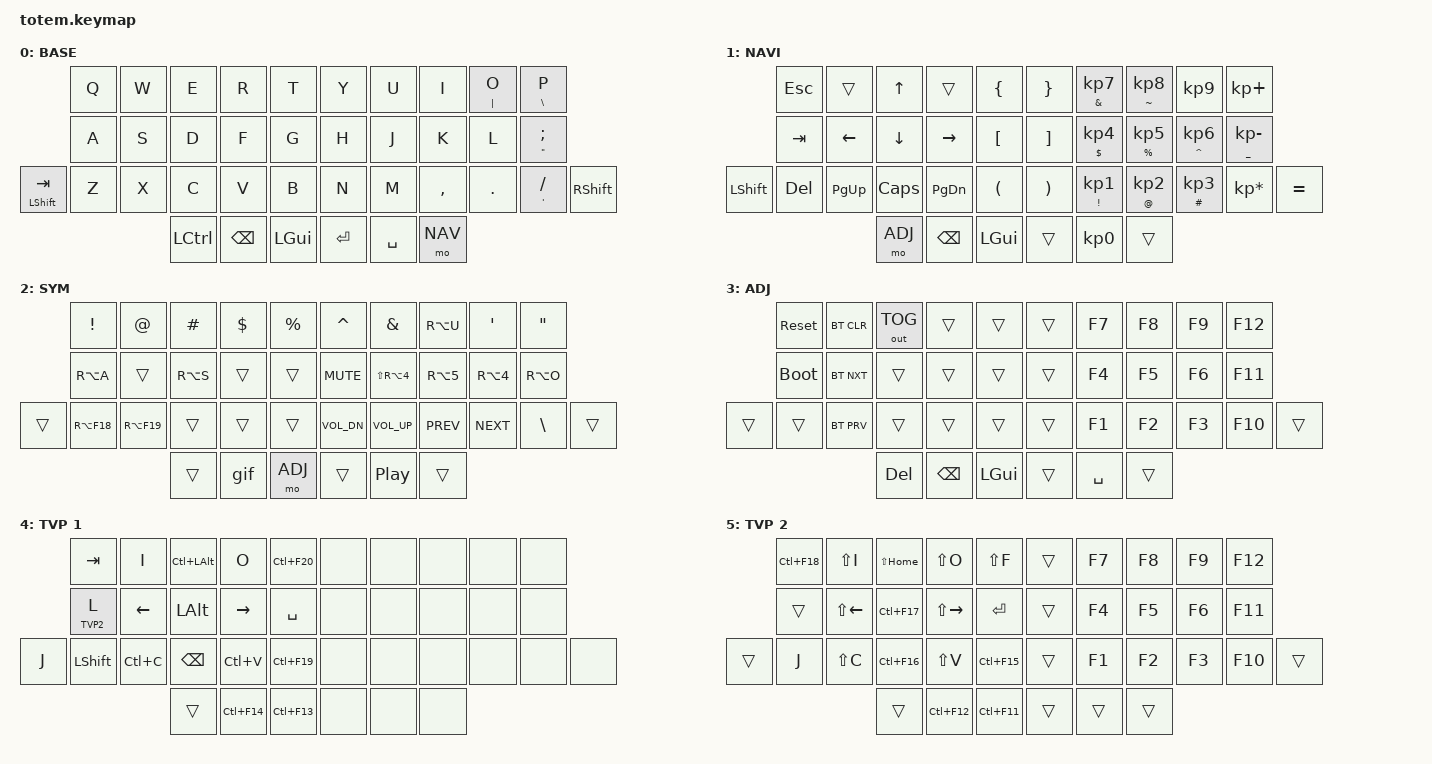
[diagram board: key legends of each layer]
//
//                                                        ▀▀▀▀▀     ▀▀▀▀▀          ▀▀█▀▀
//                                                        ▄▀▀▀▄  ▄  ▄▀▀▀▄  ▄  ▄▀▀▀▄  █  ▄▀▀▀▄
//                                                        █   █  █  █   █  █  █   █  █  █   █
//                                                         ▀▀▀   █   ▀▀▀   █   ▀▀▀   ▀   ▀▀▀
//                                                               █      ▄▄▄█▄▄▄    █   █  
//                                                               ▀      █  █  █     █▄█
//                                                             ▀▀▀▀▀    █  █  █      ▀
//                                                                      ▀  ▀  ▀
//
// ▄▄▄▄▄▄▄▄▄▄▄▄▄▄▄▄▄▄▄▄▄▄▄▄▄▄▄▄▄▄▄▄▄▄▄▄▄▄▄▄▄▄▄▄▄▄▄▄▄▄▄▄▄▄▄▄▄▄▄▄▄▄▄▄▄▄▄▄▄▄▄▄▄▄▄▄▄▄▄▄▄▄▄▄▄▄▄▄▄▄▄▄▄▄▄▄▄▄▄▄▄▄▄▄▄▄▄▄▄▄▄▄▄▄▄▄▄▄▄▄▄▄▄▄▄▄▄▄▄▄▄▄▄▄▄▄▄▄▄▄▄▄▄▄▄▄▄▄▄
       

#include <behaviors.dtsi>
#include <dt-bindings/zmk/keys.h>
#include <dt-bindings/zmk/bt.h>
#include <dt-bindings/zmk/outputs.h>

#define BASE 0
#define NAV  1
#define SYM  2
#define ADJ  3
#define TVP1 4
#define TVP2 5

&mt {
  quick-tap-ms = <100>;
  global-quick-tap;
  flavor = "tap-preferred";
  tapping-term-ms = <170>;
};

/ {
     combos {
            compatible = "zmk,combos";
            combo_esc {
                timeout-ms = <50>;
                key-positions = <0 1>;
                bindings = <&kp ESC>;
            };
            combo_tvp {
                timeout-ms = <100>;
                key-positions = <11 12 13>;
                bindings = <&tog TVP1>;
            };
    };

    macros {
        gif: gif {
            label = "giphy";
            compatible = "zmk,behavior-macro";
            #binding-cells = <0>;
            bindings
                = <&macro_press &kp LSHFT>
                , <&macro_tap &kp N2>
                , <&macro_release &kp LSHFT>
                , <&macro_tap &kp G &kp I &kp F>
                ;
        };
    };

        keymap {
                compatible = "zmk,keymap";
// ▄▄▄▄▄▄▄▄▄▄▄▄▄▄▄▄▄▄▄▄▄▄▄▄▄▄▄▄▄▄▄▄▄▄▄▄▄▄▄▄▄▄▄▄▄▄▄▄▄▄▄▄▄▄▄▄▄▄▄▄▄▄▄▄▄▄▄▄▄▄▄▄▄▄▄▄▄▄▄▄▄▄▄▄▄▄▄▄▄▄▄▄▄▄▄▄▄▄▄▄▄▄▄▄▄▄▄▄▄▄▄▄▄▄▄▄▄▄▄▄▄▄▄▄▄▄▄▄▄▄▄▄▄▄▄▄▄▄▄▄▄▄▄▄▄▄▄▄▄

                base_layer {
// ┏━━━━━━━━━━━━━━━━━━━━━━━━━━━━━━━━━━━━━━━┓
label= "BASE"                              ;
// ┗━━━━━━━━━━━━━━━━━━━━━━━━━━━━━━━━━━━━━━━┛
//             ┏━━━━━━━━━━━┳━━━━━━━━━━━┳━━━━━━━━━━━┳━━━━━━━━━━━┳━━━━━━━━━━━┓   ┏━━━━━━━━━━━┳━━━━━━━━━━━┳━━━━━━━━━━━┳━━━━━━━━━━━┳━━━━━━━━━━━┓
//             ┃     Q     ┃     W     ┃     E     ┃     R     ┃     T     ┃   ┃     Y     ┃     U     ┃     I     ┃   O / |   ┃   P / \   ┃
//             ┣━━━━━━━━━━━╋━━━━━━━━━━━╋━━━━━━━━━━━╋━━━━━━━━━━━╋━━━━━━━━━━━┫   ┣━━━━━━━━━━━╋━━━━━━━━━━━╋━━━━━━━━━━━╋━━━━━━━━━━━╋━━━━━━━━━━━┫
//             ┃     A     ┃     S     ┃     D     ┃     F     ┃     G     ┃   ┃     H     ┃     J     ┃     K     ┃     L     ┃   ; / "   ┃
// ┏━━━━━━━━━━━╋━━━━━━━━━━━╋━━━━━━━━━━━╋━━━━━━━━━━━╋━━━━━━━━━━━╋━━━━━━━━━━━┫   ┣━━━━━━━━━━━╋━━━━━━━━━━━╋━━━━━━━━━━━╋━━━━━━━━━━━╋━━━━━━━━━━━╋━━━━━━━━━━━┓
// ┃ TAB/SHIFT ┃     Z     ┃     X     ┃     C     ┃     V     ┃     B     ┃   ┃     N     ┃     M     ┃     ,     ┃     .     ┃   / / '   ┃   SHIFT   ┃
// ┗━━━━━━━━━━━┻━━━━━━━━━━━┻━━━━━━━━━━━╋━━━━━━━━━━━╋━━━━━━━━━━━╋━━━━━━━━━━━┫   ┣━━━━━━━━━━━╋━━━━━━━━━━━╋━━━━━━━━━━━╋━━━━━━━━━━━┻━━━━━━━━━━━┻━━━━━━━━━━━┛
//                                     ┃   CTRL    ┃   BSPC    ┃    CMD    ┃   ┃   ENTER   ┃    SPC    ┃   NAVI    ┃
//                                     ┗━━━━━━━━━━━┻━━━━━━━━━━━┻━━━━━━━━━━━┛   ┗━━━━━━━━━━━┻━━━━━━━━━━━┻━━━━━━━━━━━┛
 bindings = <
// ╷           ╷           ╷           ╷           ╷           ╷           ╷   ╷           ╷           ╷           ╷           ╷           ╷           ╷

                &kp Q       &kp W       &kp E       &kp R       &kp T           &kp Y       &kp U       &kp I       &mt PIPE O  &mt BSLH P
                &kp A       &kp S       &kp D       &kp F       &kp G           &kp H       &kp J       &kp K       &kp L       &mt DQT SEMI
    &mt LSHFT TAB &kp Z     &kp X       &kp C       &kp V       &kp B           &kp N       &kp M       &kp COMMA   &kp DOT     &mt SQT FSLH &kp RSHFT
                                        &kp LCTRL   &kp BSPC    &kp LGUI        &kp RET     &kp SPACE   &mo NAV
                        >;
                };

// ▄▄▄▄▄▄▄▄▄▄▄▄▄▄▄▄▄▄▄▄▄▄▄▄▄▄▄▄▄▄▄▄▄▄▄▄▄▄▄▄▄▄▄▄▄▄▄▄▄▄▄▄▄▄▄▄▄▄▄▄▄▄▄▄▄▄▄▄▄▄▄▄▄▄▄▄▄▄▄▄▄▄▄▄▄▄▄▄▄▄▄▄▄▄▄▄▄▄▄▄▄▄▄▄▄▄▄▄▄▄▄▄▄▄▄▄▄▄▄▄▄▄▄▄▄▄▄▄▄▄▄▄▄▄▄▄▄▄▄▄▄▄▄▄▄▄▄▄▄


                nav_layer {
// ┏━━━━━━━━━━━━━━━━━━━━━━━━━━━━━━━━━━━━━━━┓
label= "NAVI"                              ;
// ┗━━━━━━━━━━━━━━━━━━━━━━━━━━━━━━━━━━━━━━━┛
//             ┏━━━━━━━━━━━┳━━━━━━━━━━━┳━━━━━━━━━━━┳━━━━━━━━━━━┳━━━━━━━━━━━┓   ┏━━━━━━━━━━━┳━━━━━━━━━━━┳━━━━━━━━━━━┳━━━━━━━━━━━┳━━━━━━━━━━━┓
//             ┃    ESC    ┃           ┃     UP    ┃           ┃     {     ┃   ┃     }     ┃   7 / &   ┃   8 / ~   ┃     9     ┃     +     ┃
//             ┣━━━━━━━━━━━╋━━━━━━━━━━━╋━━━━━━━━━━━╋━━━━━━━━━━━╋━━━━━━━━━━━┫   ┣━━━━━━━━━━━╋━━━━━━━━━━━╋━━━━━━━━━━━╋━━━━━━━━━━━╋━━━━━━━━━━━┫
//             ┃    TAB    ┃   LEFT    ┃    DOWN   ┃   RIGHT   ┃     [     ┃   ┃     ]     ┃   4 / $   ┃   5 / %   ┃   6 / ^   ┃   - / _   ┃
// ┏━━━━━━━━━━━╋━━━━━━━━━━━╋━━━━━━━━━━━╋━━━━━━━━━━━╋━━━━━━━━━━━╋━━━━━━━━━━━┫   ┣━━━━━━━━━━━╋━━━━━━━━━━━╋━━━━━━━━━━━╋━━━━━━━━━━━╋━━━━━━━━━━━╋━━━━━━━━━━━┓
// ┃   SHIFT   ┃    DEL    ┃   PG UP   ┃  C LOCK   ┃  PG DOWN  ┃     (     ┃   ┃     )     ┃   1 / !   ┃   2 / @   ┃   3 / #   ┃     *     ┃     =     ┃
// ┗━━━━━━━━━━━┻━━━━━━━━━━━┻━━━━━━━━━━━╋━━━━━━━━━━━╋━━━━━━━━━━━╋━━━━━━━━━━━┫   ┣━━━━━━━━━━━╋━━━━━━━━━━━╋━━━━━━━━━━━╋━━━━━━━━━━━┻━━━━━━━━━━━┻━━━━━━━━━━━┛
//                                     ┃    ADJ    ┃   BSPC    ┃    CMD    ┃   ┃           ┃     0     ┃           ┃
//                                     ┗━━━━━━━━━━━┻━━━━━━━━━━━┻━━━━━━━━━━━┛   ┗━━━━━━━━━━━┻━━━━━━━━━━━┻━━━━━━━━━━━┛
 bindings = <
// ╷           ╷           ╷           ╷           ╷           ╷           ╷   ╷           ╷           ╷           ╷           ╷           ╷           ╷

                &kp ESC     &trans      &kp UP      &trans      &kp LBRC        &kp RBRC    &mt AMPS KP_N7 &mt TILDE KP_N8 &kp KP_N9 &kp KP_PLUS
                &kp TAB     &kp LEFT    &kp DOWN    &kp RIGHT   &kp LBKT        &kp RBKT    &mt DLLR KP_N4 &mt PRCNT KP_N5 &mt CARET KP_N6 &mt UNDER KP_MINUS
    &kp LSHFT   &kp DEL     &kp PG_UP   &kp CAPS    &kp PG_DN   &kp LPAR        &kp RPAR    &mt EXCL KP_N1 &mt AT KP_N2 &mt HASH KP_N3 &kp KP_MULTIPLY &kp EQUAL
                                        &mo ADJ     &kp BSPC    &kp LGUI        &trans      &kp KP_N0   &trans
                        >;
                };

// ▄▄▄▄▄▄▄▄▄▄▄▄▄▄▄▄▄▄▄▄▄▄▄▄▄▄▄▄▄▄▄▄▄▄▄▄▄▄▄▄▄▄▄▄▄▄▄▄▄▄▄▄▄▄▄▄▄▄▄▄▄▄▄▄▄▄▄▄▄▄▄▄▄▄▄▄▄▄▄▄▄▄▄▄▄▄▄▄▄▄▄▄▄▄▄▄▄▄▄▄▄▄▄▄▄▄▄▄▄▄▄▄▄▄▄▄▄▄▄▄▄▄▄▄▄▄▄▄▄▄▄▄▄▄▄▄▄▄▄▄▄▄▄▄▄▄▄▄▄


                sim_layer {
// ┏━━━━━━━━━━━━━━━━━━━━━━━━━━━━━━━━━━━━━━━┓
label= "SYM"                               ;
// ┗━━━━━━━━━━━━━━━━━━━━━━━━━━━━━━━━━━━━━━━┛
//             ┏━━━━━━━━━━━┳━━━━━━━━━━━┳━━━━━━━━━━━┳━━━━━━━━━━━┳━━━━━━━━━━━┓   ┏━━━━━━━━━━━┳━━━━━━━━━━━┳━━━━━━━━━━━┳━━━━━━━━━━━┳━━━━━━━━━━━┓
//             ┃     !     ┃     @     ┃     #     ┃     $     ┃     %     ┃   ┃     ˆ     ┃     &     ┃     Ü     ┃     '     ┃     "     ┃
//             ┣━━━━━━━━━━━╋━━━━━━━━━━━╋━━━━━━━━━━━╋━━━━━━━━━━━╋━━━━━━━━━━━┫   ┣━━━━━━━━━━━╋━━━━━━━━━━━╋━━━━━━━━━━━╋━━━━━━━━━━━╋━━━━━━━━━━━┫
//             ┃     Ä     ┃           ┃    SZ     ┃           ┃           ┃   ┃   MUTE    ┃   YEN     ┃   EURO    ┃  POUND    ┃     Ö     ┃
// ┏━━━━━━━━━━━╋━━━━━━━━━━━╋━━━━━━━━━━━╋━━━━━━━━━━━╋━━━━━━━━━━━╋━━━━━━━━━━━┫   ┣━━━━━━━━━━━╋━━━━━━━━━━━╋━━━━━━━━━━━╋━━━━━━━━━━━╋━━━━━━━━━━━╋━━━━━━━━━━━┓
// ┃           ┃  EMAIL1   ┃  EMAIL2   ┃           ┃           ┃           ┃   ┃   VOL-    ┃   VOL+    ┃   LAST    ┃   NEXT    ┃     \     ┃           ┃
// ┗━━━━━━━━━━━┻━━━━━━━━━━━┻━━━━━━━━━━━╋━━━━━━━━━━━╋━━━━━━━━━━━╋━━━━━━━━━━━┫   ┣━━━━━━━━━━━╋━━━━━━━━━━━╋━━━━━━━━━━━╋━━━━━━━━━━━┻━━━━━━━━━━━┻━━━━━━━━━━━┛
//                                     ┃           ┃    GIF    ┃    ADJ    ┃   ┃           ┃           ┃           ┃
//                                     ┗━━━━━━━━━━━┻━━━━━━━━━━━┻━━━━━━━━━━━┛   ┗━━━━━━━━━━━┻━━━━━━━━━━━┻━━━━━━━━━━━┛
 bindings = <
// ╷           ╷           ╷           ╷           ╷           ╷           ╷   ╷           ╷           ╷           ╷           ╷           ╷           ╷

                &kp EXCL    &kp AT      &kp HASH    &kp DLLR    &kp PRCNT       &kp CARET   &kp AMPS    &kp RA(U)   &kp SQT     &kp DQT       
                &kp RA(A)   &trans      &kp RA(S)   &trans      &trans          &kp C_MUTE  &kp LS(RA(N4)) &kp RA(N5) &kp RA(N4)   &kp RA(O) 
    &trans      &kp RA(F18) &kp RA(F19) &trans      &trans      &trans          &kp C_VOL_DN &kp C_VOL_UP &kp C_PREV &kp C_NEXT  &kp BSLH   &trans         
                                        &trans      &gif        &mo ADJ         &trans      &kp C_PP    &trans      
                        >;
                };

// ▄▄▄▄▄▄▄▄▄▄▄▄▄▄▄▄▄▄▄▄▄▄▄▄▄▄▄▄▄▄▄▄▄▄▄▄▄▄▄▄▄▄▄▄▄▄▄▄▄▄▄▄▄▄▄▄▄▄▄▄▄▄▄▄▄▄▄▄▄▄▄▄▄▄▄▄▄▄▄▄▄▄▄▄▄▄▄▄▄▄▄▄▄▄▄▄▄▄▄▄▄▄▄▄▄▄▄▄▄▄▄▄▄▄▄▄▄▄▄▄▄▄▄▄▄▄▄▄▄▄▄▄▄▄▄▄▄▄▄▄▄▄▄▄▄▄▄▄▄


                adjust_layer {
// ┏━━━━━━━━━━━━━━━━━━━━━━━━━━━━━━━━━━━━━━━┓
label= "ADJ"                               ;
// ┗━━━━━━━━━━━━━━━━━━━━━━━━━━━━━━━━━━━━━━━┛
//             ┏━━━━━━━━━━━┳━━━━━━━━━━━┳━━━━━━━━━━━┳━━━━━━━━━━━┳━━━━━━━━━━━┓   ┏━━━━━━━━━━━┳━━━━━━━━━━━┳━━━━━━━━━━━┳━━━━━━━━━━━┳━━━━━━━━━━━┓
//             ┃   RESET   ┃ BT CLEAR  ┃  OUT TOG  ┃           ┃           ┃   ┃           ┃    F7     ┃    F8     ┃    F9     ┃    F12    ┃
//             ┣━━━━━━━━━━━╋━━━━━━━━━━━╋━━━━━━━━━━━╋━━━━━━━━━━━╋━━━━━━━━━━━┫   ┣━━━━━━━━━━━╋━━━━━━━━━━━╋━━━━━━━━━━━╋━━━━━━━━━━━╋━━━━━━━━━━━┫
//             ┃ BOOTLOAD  ┃ BT NEXT   ┃           ┃           ┃           ┃   ┃           ┃    F4     ┃    F5     ┃    F6     ┃    F11    ┃
// ┏━━━━━━━━━━━╋━━━━━━━━━━━╋━━━━━━━━━━━╋━━━━━━━━━━━╋━━━━━━━━━━━╋━━━━━━━━━━━┫   ┣━━━━━━━━━━━╋━━━━━━━━━━━╋━━━━━━━━━━━╋━━━━━━━━━━━╋━━━━━━━━━━━╋━━━━━━━━━━━┓
// ┃           ┃           ┃ BT PREV   ┃           ┃           ┃           ┃   ┃           ┃    F1     ┃    F2     ┃    F3     ┃    F10    ┃           ┃
// ┗━━━━━━━━━━━┻━━━━━━━━━━━┻━━━━━━━━━━━╋━━━━━━━━━━━╋━━━━━━━━━━━╋━━━━━━━━━━━┫   ┣━━━━━━━━━━━╋━━━━━━━━━━━╋━━━━━━━━━━━╋━━━━━━━━━━━┻━━━━━━━━━━━┻━━━━━━━━━━━┛
//                                     ┃    DEL    ┃   BSPC    ┃    CMD    ┃   ┃           ┃    SPC    ┃           ┃
//                                     ┗━━━━━━━━━━━┻━━━━━━━━━━━┻━━━━━━━━━━━┛   ┗━━━━━━━━━━━┻━━━━━━━━━━━┻━━━━━━━━━━━┛
 bindings = <
// ╷           ╷           ╷           ╷           ╷           ╷           ╷   ╷           ╷           ╷           ╷           ╷           ╷           ╷

                &sys_reset  &bt BT_CLR &out OUT_TOG &trans      &trans          &trans      &kp F7      &kp F8      &kp F9      &kp F12
                &bootloader &bt BT_NXT  &trans      &trans      &trans          &trans      &kp F4      &kp F5      &kp F6      &kp F11
    &trans      &trans      &bt BT_PRV  &trans      &trans      &trans          &trans      &kp F1      &kp F2      &kp F3      &kp F10     &trans
                                        &kp DEL     &kp BSPC    &kp LGUI        &trans      &kp SPACE   &trans
                        >;
                };

// ▄▄▄▄▄▄▄▄▄▄▄▄▄▄▄▄▄▄▄▄▄▄▄▄▄▄▄▄▄▄▄▄▄▄▄▄▄▄▄▄▄▄▄▄▄▄▄▄▄▄▄▄▄▄▄▄▄▄▄▄▄▄▄▄▄▄▄▄▄▄▄▄▄▄▄▄▄▄▄▄▄▄▄▄▄▄▄▄▄▄▄▄▄▄▄▄▄▄▄▄▄▄▄▄▄▄▄▄▄▄▄▄▄▄▄▄▄▄▄▄▄▄▄▄▄▄▄▄▄▄▄▄▄▄▄▄▄▄▄▄▄▄▄▄▄▄▄▄▄


                tvp1_layer {
// ┏━━━━━━━━━━━━━━━━━━━━━━━━━━━━━━━━━━━━━━━┓
label= "TVP 1"                             ;
// ┗━━━━━━━━━━━━━━━━━━━━━━━━━━━━━━━━━━━━━━━┛
//             ┏━━━━━━━━━━━┳━━━━━━━━━━━┳━━━━━━━━━━━┳━━━━━━━━━━━┳━━━━━━━━━━━┓   ┏━━━━━━━━━━━┳━━━━━━━━━━━┳━━━━━━━━━━━┳━━━━━━━━━━━┳━━━━━━━━━━━┓
//             ┃ NEXT FILE ┃ MARK IN   ┃ ROTATE    ┃ MARK OUT  ┃ SHOW SNAP ┃   ┃           ┃           ┃           ┃           ┃           ┃
//             ┣━━━━━━━━━━━╋━━━━━━━━━━━╋━━━━━━━━━━━╋━━━━━━━━━━━╋━━━━━━━━━━━┫   ┣━━━━━━━━━━━╋━━━━━━━━━━━╋━━━━━━━━━━━╋━━━━━━━━━━━╋━━━━━━━━━━━┫
//             ┃ TVP II    ┃ LEFT      ┃ PAN       ┃ RIGHT     ┃ PLAY/FLIP ┃   ┃           ┃           ┃           ┃           ┃           ┃
// ┏━━━━━━━━━━━╋━━━━━━━━━━━╋━━━━━━━━━━━╋━━━━━━━━━━━╋━━━━━━━━━━━╋━━━━━━━━━━━┫   ┣━━━━━━━━━━━╋━━━━━━━━━━━╋━━━━━━━━━━━╋━━━━━━━━━━━╋━━━━━━━━━━━╋━━━━━━━━━━━┓
// ┃ FULLSCR   ┃ SHIFT     ┃ COPY      ┃ DELETE    ┃ PASTE     ┃ IMG MARK  ┃   ┃           ┃           ┃           ┃           ┃           ┃           ┃
// ┗━━━━━━━━━━━┻━━━━━━━━━━━┻━━━━━━━━━━━╋━━━━━━━━━━━╋━━━━━━━━━━━╋━━━━━━━━━━━┫   ┣━━━━━━━━━━━╋━━━━━━━━━━━╋━━━━━━━━━━━╋━━━━━━━━━━━┻━━━━━━━━━━━┻━━━━━━━━━━━┛
//                                     ┃           ┃ UNDO/SAVE ┃  SEL/MOV  ┃   ┃           ┃           ┃           ┃
//                                     ┗━━━━━━━━━━━┻━━━━━━━━━━━┻━━━━━━━━━━━┛   ┗━━━━━━━━━━━┻━━━━━━━━━━━┻━━━━━━━━━━━┛
 bindings = <
// ╷           ╷           ╷           ╷           ╷           ╷           ╷   ╷           ╷           ╷           ╷           ╷           ╷           ╷

                &kp TAB     &kp I       &kp LC(LALT) &kp O      &kp LC(F20)     &none       &none       &none       &none       &none
                &lt TVP2 L  &kp LEFT    &kp LALT    &kp RIGHT   &kp SPACE       &none       &none       &none       &none       &none
    &kp J       &kp LSHFT   &kp LC(C)   &kp BSPC    &kp LC(V)   &kp LC(F19)     &none       &none       &none       &none       &none       &none        
                                        &trans      &kp LC(F14) &kp LC(F13)     &none       &none       &none    
                        >;
                };

// ▄▄▄▄▄▄▄▄▄▄▄▄▄▄▄▄▄▄▄▄▄▄▄▄▄▄▄▄▄▄▄▄▄▄▄▄▄▄▄▄▄▄▄▄▄▄▄▄▄▄▄▄▄▄▄▄▄▄▄▄▄▄▄▄▄▄▄▄▄▄▄▄▄▄▄▄▄▄▄▄▄▄▄▄▄▄▄▄▄▄▄▄▄▄▄▄▄▄▄▄▄▄▄▄▄▄▄▄▄▄▄▄▄▄▄▄▄▄▄▄▄▄▄▄▄▄▄▄▄▄▄▄▄▄▄▄▄▄▄▄▄▄▄▄▄▄▄▄▄


                tvp2_layer {
// ┏━━━━━━━━━━━━━━━━━━━━━━━━━━━━━━━━━━━━━━━┓
label= "TVP 2"                             ;
// ┗━━━━━━━━━━━━━━━━━━━━━━━━━━━━━━━━━━━━━━━┛
//             ┏━━━━━━━━━━━┳━━━━━━━━━━━┳━━━━━━━━━━━┳━━━━━━━━━━━┳━━━━━━━━━━━┓   ┏━━━━━━━━━━━┳━━━━━━━━━━━┳━━━━━━━━━━━┳━━━━━━━━━━━┳━━━━━━━━━━━┓
//             ┃ SOLO      ┃ TOGGLE IN ┃ RESET ROT ┃ TOGGLE OUT┃ TAKE SNAP ┃   ┃           ┃           ┃           ┃           ┃           ┃
//             ┣━━━━━━━━━━━╋━━━━━━━━━━━╋━━━━━━━━━━━╋━━━━━━━━━━━╋━━━━━━━━━━━┫   ┣━━━━━━━━━━━╋━━━━━━━━━━━╋━━━━━━━━━━━╋━━━━━━━━━━━╋━━━━━━━━━━━┫
//             ┃ ---       ┃ LAST KEY  ┃ NEW KEY   ┃ NEXT KEY  ┃ ENTER     ┃   ┃           ┃           ┃           ┃           ┃           ┃
// ┏━━━━━━━━━━━╋━━━━━━━━━━━╋━━━━━━━━━━━╋━━━━━━━━━━━╋━━━━━━━━━━━╋━━━━━━━━━━━┫   ┣━━━━━━━━━━━╋━━━━━━━━━━━╋━━━━━━━━━━━╋━━━━━━━━━━━╋━━━━━━━━━━━╋━━━━━━━━━━━┓
// ┃           ┃ FULLSCR   ┃ CPY2BRUSH ┃ DEL HEAD  ┃ PSTinPLACE┃ BOOK MARK ┃   ┃           ┃           ┃           ┃           ┃           ┃           ┃
// ┗━━━━━━━━━━━┻━━━━━━━━━━━┻━━━━━━━━━━━╋━━━━━━━━━━━╋━━━━━━━━━━━╋━━━━━━━━━━━┫   ┣━━━━━━━━━━━╋━━━━━━━━━━━╋━━━━━━━━━━━╋━━━━━━━━━━━┻━━━━━━━━━━━┻━━━━━━━━━━━┛
//                                     ┃           ┃ REDO/SAV1 ┃TRANS/WARP ┃   ┃           ┃           ┃           ┃
//                                     ┗━━━━━━━━━━━┻━━━━━━━━━━━┻━━━━━━━━━━━┛   ┗━━━━━━━━━━━┻━━━━━━━━━━━┻━━━━━━━━━━━┛
 bindings = <
// ╷           ╷           ╷           ╷           ╷           ╷           ╷   ╷           ╷           ╷           ╷           ╷           ╷           ╷

                &kp LC(F18) &kp LS(I)  &kp LS(HOME) &kp LS(O)   &kp LS(F)       &trans      &kp F7      &kp F8      &kp F9      &kp F12
                &trans      &kp LS(LEFT) &kp LC(F17) &kp LS(RIGHT) &kp RET      &trans      &kp F4      &kp F5      &kp F6      &kp F11  
    &trans      &kp J       &kp LS(C)   &kp LC(F16) &kp LS(V)   &kp LC(F15)     &trans      &kp F1      &kp F2      &kp F3      &kp F10     &trans         
                                        &trans      &kp LC(F12) &kp LC(F11)     &trans      &trans      &trans      
                        >;
                };
        };
};
